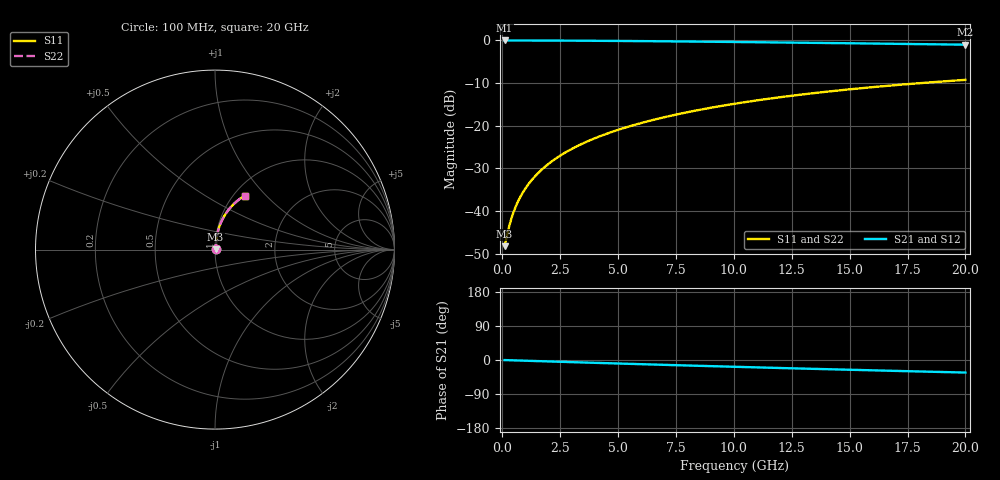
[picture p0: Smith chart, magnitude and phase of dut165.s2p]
! Touchstone file exported from HFSS 2024.1.0
!  File:  C:/UserFiles/LocalFiles/RDL_TSV_Batchsim/temp_RDL_bottom_165_1778697980.aedt
!  Generated:  02:49:00 AM May 14, 2026
!  Design:  RDL_bottom
!  Project:  temp_RDL_bottom_165_1778697980
!  Setup:  Setup1
!  Solution:  Sweep
! Variables:
!  dtsv = 10.80580581um
!  hbump = 3um
!  htsv = 89.14um
!  ldown = 448.7um
!  lrdl = 100um
!  p = 40
!  p1 = 42.42um
!  rhole = 1um
!  t = 450um
!  tdown = 3.02um
!  trdl = 3.915915916um
!  wdown = 16.47um
!  wrdl = 20um
# GHz S MA R 50.000000
! Terminal data exported
! Port[1] = RDL1_T1
! Port[2] = RDL1_T2
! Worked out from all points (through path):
!   200 points, 100 MHz to 20 GHz, reference 50 ohm
!   highest |S21| = -0.03 dB at 100 MHz (marker M1); lowest = -1.0 dB at 20 GHz (marker M2)
!   group delay of S21, straight-line fit = 4.59 ps
!   lowest |S11| = -48.2 dB at 100 MHz (marker M3), VSWR 1.01, Z = 50.3 + j0.192 ohm
!   |S11| at or under -10 dB: start of sweep to 18.12 GHz
!   |S22| runs from -48.2 to -9.3 dB; largest |S21 - S12| = 2.6e-15
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0.1  0.003872 29.4  0.9966 -0.2  0.9966 -0.2  0.003872 29.4
! Gamma 0 0 0 0
! Port Impedance 50 0 50 0
0.3  0.006655 57.6  0.9964 -0.6  0.9964 -0.6  0.006655 57.6
0.4  0.008284 63.5  0.9963 -0.8  0.9963 -0.8  0.008284 63.5
0.5  0.009946 67.5  0.9961 -1.0  0.9961 -1.0  0.009946 67.5
0.6  0.01162 70.3  0.996 -1.2  0.996 -1.2  0.01162 70.3
0.8  0.015 74.0  0.9957 -1.5  0.9957 -1.5  0.015 74.0
1  0.01841 76.4  0.9955 -1.9  0.9955 -1.9  0.01841 76.4
1.2  0.02184 78.1  0.9952 -2.3  0.9952 -2.3  0.02184 78.1
1.4  0.02529 79.3  0.9949 -2.7  0.9949 -2.7  0.02529 79.3
1.7  0.03051 80.5  0.9944 -3.2  0.9944 -3.2  0.03051 80.5
2.2  0.03927 81.6  0.9934 -4.2  0.9934 -4.2  0.03927 81.6
2.8  0.04986 82.2  0.9919 -5.3  0.9919 -5.3  0.04986 82.2
3.5  0.06232 82.3  0.9898 -6.6  0.9898 -6.6  0.06232 82.3
4.2  0.07487 82.1  0.9873 -7.9  0.9873 -7.9  0.07487 82.1
5  0.0893 81.6  0.984 -9.3  0.984 -9.3  0.08931 81.6
5.9  0.1056 80.8  0.9799 -10.9  0.9799 -10.9  0.1056 80.8
6.8  0.122 79.8  0.9753 -12.5  0.9753 -12.5  0.122 79.8
8.4  0.1512 77.9  0.9665 -15.2  0.9665 -15.2  0.1512 77.9
10.1  0.1819 75.5  0.9563 -18.1  0.9563 -18.1  0.1819 75.5
13.4  0.2398 70.7  0.935 -23.3  0.935 -23.3  0.2398 70.7
16.7  0.2942 65.8  0.9125 -28.4  0.9125 -28.4  0.2942 65.8
20  0.3443 61.0  0.8892 -33.1  0.8892 -33.1  0.3443 61.0
